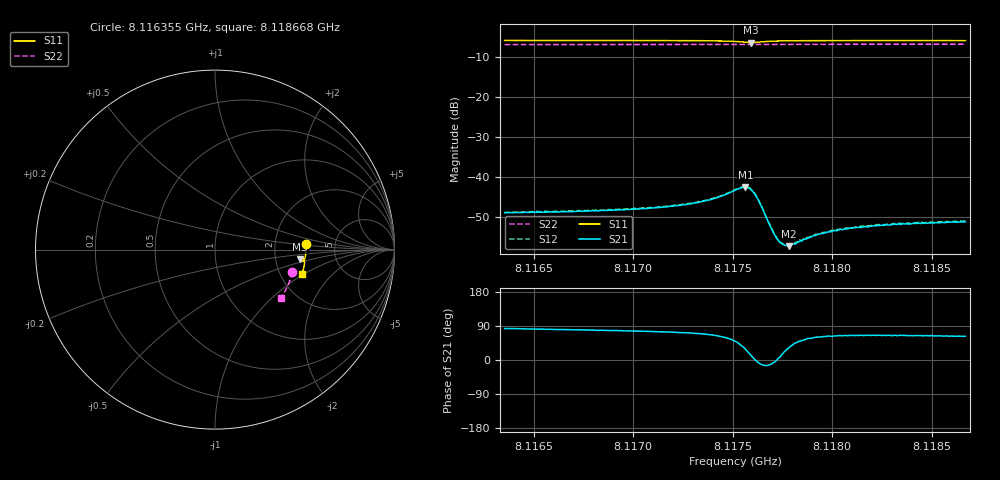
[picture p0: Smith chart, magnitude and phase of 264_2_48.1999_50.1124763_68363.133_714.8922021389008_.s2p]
#  HZ  S  RI  R  50.00
! Rohde & Schwarz Vector Network Analyzer
! Rohde-Schwarz,ZNB20-2Port,1311601062101988,3.16
! Created: UTC 3/20/2024, 11:47:53 AM
! freq[Hz]  re:S11  im:S11  re:S21  im:S21  re:S12  im:S12  re:S22  im:S22
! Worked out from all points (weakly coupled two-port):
!   401 points, 8.116355 GHz to 8.118668 GHz, reference 50 ohm
!   highest |S21| = -42.55 dB at 8.117564 GHz (marker M1); lowest = -57.3 dB at 8.117783 GHz (marker M2)
!   lowest |S11| = -6.4 dB at 8.117593 GHz (marker M3), VSWR 2.83, Z = 138 - j19.5 ohm
!   |S11| at or under -10 dB: nowhere
!   |S22| runs from -6.9 to -6.8 dB; largest |S21 - S12| = 0.00018
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8.1163548e9  0.5059 0.0319  0.000433 0.00354  0.000502 0.00358  0.4315 -0.1257
8.1167423e9  0.5063 0.00242  0.000687 0.00365  0.000743 0.00374  0.4242 -0.1517
8.1171299e9  0.5047 -0.0281  0.00111 0.00403  0.00118 0.00406  0.4153 -0.1772
8.1173381e9  0.5015 -0.0464  0.00173 0.00455  0.00175 0.00464  0.4097 -0.1909
8.1174249e9  0.498 -0.0554  0.00245 0.00496  0.00256 0.00506  0.4072 -0.1965
8.1175116e9  0.4886 -0.0639  0.00442 0.00519  0.00455 0.00524  0.4042 -0.2019
8.1175405e9  0.4826 -0.0644  0.0056 0.00466  0.00575 0.00466  0.4033 -0.2036
8.1175637e9  0.4775 -0.0619  0.00654 0.00359  0.0067 0.00355  0.4025 -0.2049
8.1175926e9  0.4747 -0.0543  0.00675 0.0014  0.00692 0.00137  0.4016 -0.2063
8.1176099e9  0.4766 -0.0496  0.00615 0.000175  0.0063 0.000124  0.4012 -0.2072
8.1176273e9  0.4803 -0.0466  0.00518 -0.000583  0.0053 -0.000645  0.4009 -0.2081
8.1176909e9  0.4931 -0.0497  0.0023 -0.000471  0.00233 -0.000479  0.3996 -0.2121
8.1177198e9  0.4957 -0.0536  0.00172 -3.28e-05  0.00176 -3.42e-05  0.3989 -0.2142
8.1177314e9  0.4965 -0.0551  0.00158 0.000158  0.00163 0.000139  0.3986 -0.215
8.1177488e9  0.4973 -0.0573  0.00139 0.000392  0.00144 0.000383  0.398 -0.2161
8.1177719e9  0.4981 -0.06  0.00121 0.000654  0.00125 0.000631  0.3974 -0.2176
8.1177835e9  0.4983 -0.0614  0.00115 0.000735  0.0012 0.000762  0.397 -0.2181
8.1178992e9  0.4987 -0.0731  0.000974 0.00152  0.00098 0.00155  0.3935 -0.2257
8.1179744e9  0.4982 -0.08  0.000933 0.00182  0.000981 0.00183  0.3908 -0.2303
8.1180611e9  0.4972 -0.0873  0.000958 0.00203  0.000991 0.00204  0.3881 -0.2359
8.1182867e9  0.494 -0.1049  0.00104 0.00228  0.00113 0.00232  0.3801 -0.2495
8.1186685e9  0.4867 -0.1332  0.00126 0.00243  0.00129 0.00249  0.3656 -0.2721
